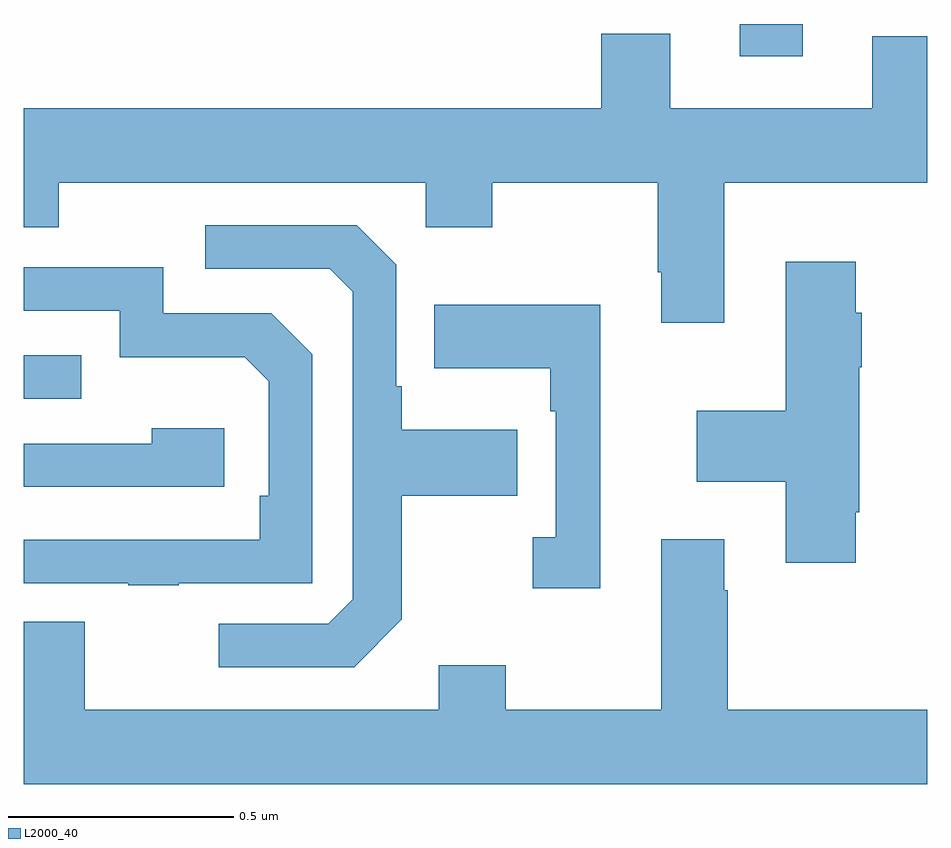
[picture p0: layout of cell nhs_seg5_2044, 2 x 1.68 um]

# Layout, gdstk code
import gdstk
lib = gdstk.Library(unit=1e-6, precision=1e-09)
def R(c, l, rs):  # rectangles x0, y0, x1, y1
    for r in rs: c.add(gdstk.rectangle(r[:2], r[2:], *l))
def P(c, l, *ps):  # polygons
    for p in ps: c.add(gdstk.Polygon(p, *l))
L2000_40 = (2000, 40)

nhs_seg5_2044 = lib.new_cell('nhs_seg5_2044')
R(nhs_seg5_2044, L2000_40, [(139,834.969,139.127,835.065), (140.585,835.728,140.725,835.799)])
P(nhs_seg5_2044, L2000_40, [(140.551,835.448),(141,835.448),(141,835.772),(140.879,835.772),(140.879,835.612),(140.431,835.612),(140.431,835.777),(140.279,835.777),(140.279,835.612),(139,835.612),(139,835.349),(139.077,835.349),(139.077,835.448),(139.89,835.448),(139.89,835.349),(140.037,835.349),(140.037,835.448),(140.404,835.448),(140.404,835.249),(140.411,835.249),(140.411,835.137),(140.551,835.137)],
  [(139.837,834.481),(139.837,834.754),(140.093,834.754),(140.093,834.901),(139.837,834.901),(139.837,834.997),(139.824,834.997),(139.824,835.266),(139.737,835.353),(139.401,835.353),(139.401,835.257),(139.677,835.257),(139.728,835.206),(139.728,834.525),(139.674,834.471),(139.431,834.471),(139.431,834.375),(139.731,834.375)],
  [(140.842,834.718),(140.85,834.718),(140.85,835.039),(140.855,835.039),(140.855,835.16),(140.842,835.16),(140.842,835.273),(140.687,835.273),(140.687,834.943),(140.49,834.943),(140.49,834.785),(140.687,834.785),(140.687,834.606),(140.842,834.606)],
  [(139.343,834.561),(139.638,834.561),(139.638,835.068),(139.548,835.158),(139.308,835.158),(139.308,835.26),(139,835.26),(139,835.164),(139.212,835.164),(139.212,835.061),(139.489,835.061),(139.542,835.008),(139.542,834.754),(139.522,834.754),(139.522,834.657),(139,834.657),(139,834.561),(139.231,834.561),(139.231,834.556),(139.343,834.556)],
  [(140.276,835.177),(139.909,835.177),(139.909,835.037),(140.166,835.037),(140.166,834.941),(140.178,834.941),(140.178,834.662),(140.127,834.662),(140.127,834.549),(140.276,834.549)],
  [(139.444,834.904),(139.283,834.904),(139.283,834.87),(139,834.87),(139,834.774),(139.444,834.774)],
  [(141,834.28),(140.559,834.28),(140.559,834.545),(140.551,834.545),(140.551,834.658),(140.411,834.658),(140.411,834.28),(140.067,834.28),(140.067,834.379),(139.919,834.379),(139.919,834.28),(139.135,834.28),(139.135,834.475),(139,834.475),(139,834.116),(141,834.116)])

lib.write_gds('nhs_seg5_2044.gds')
